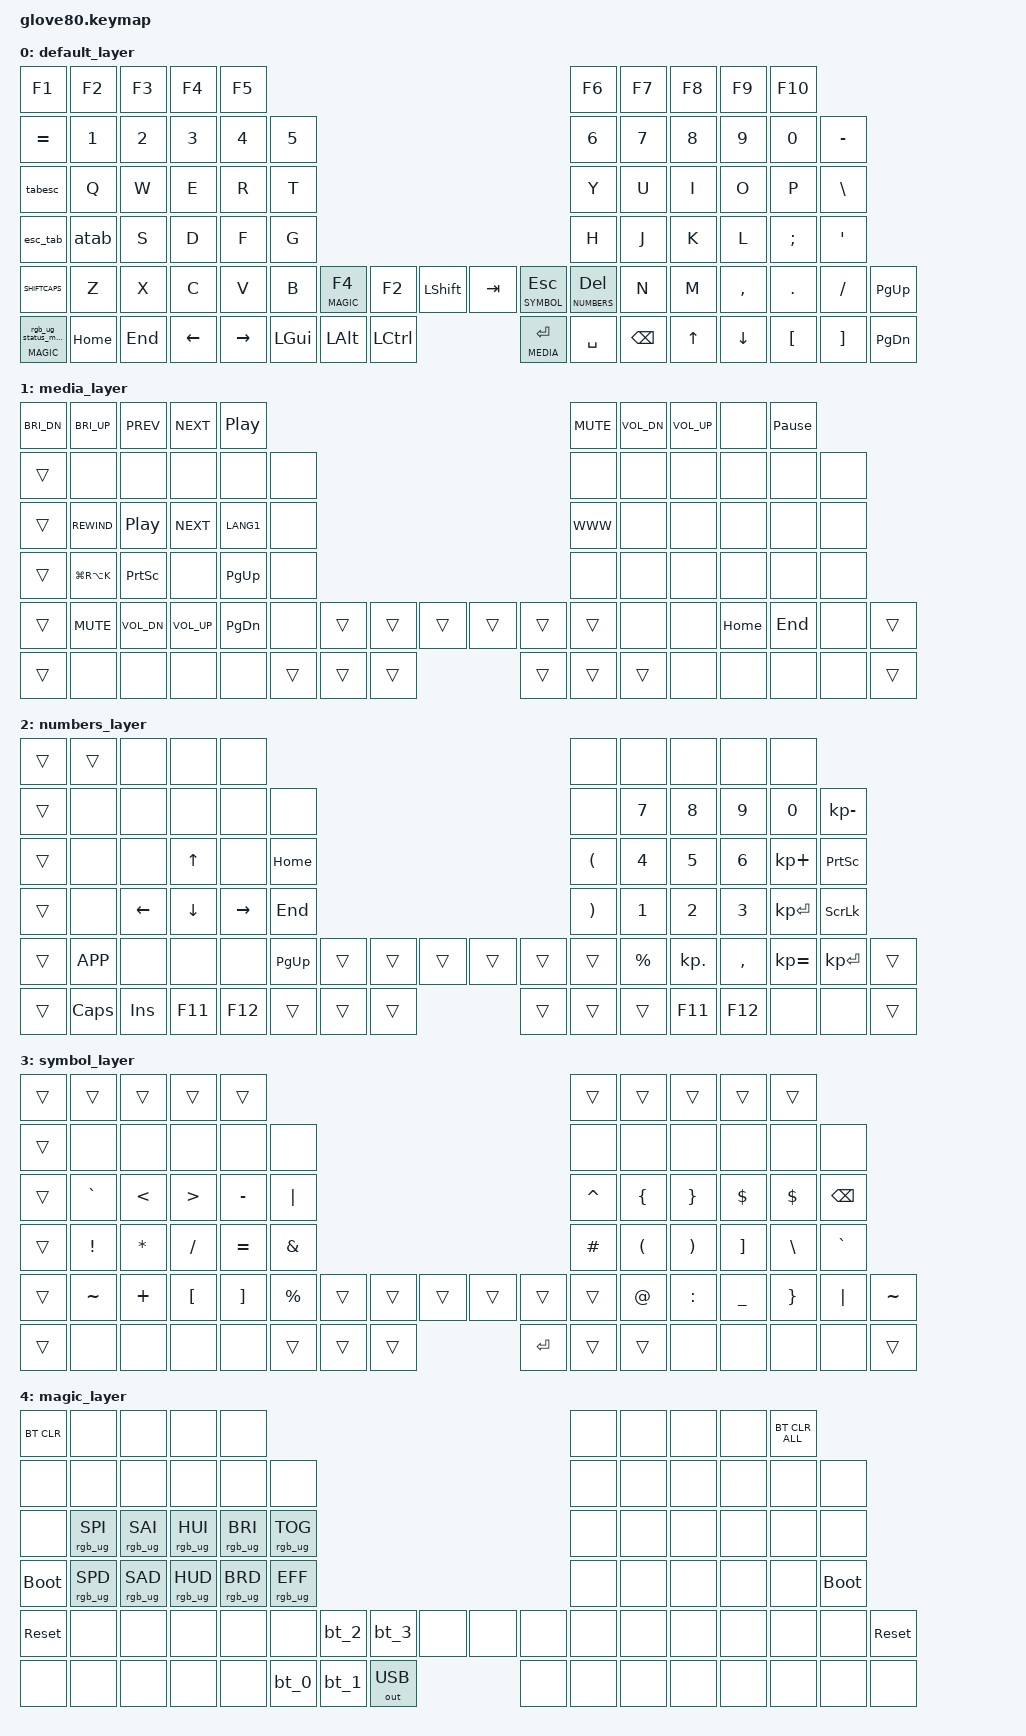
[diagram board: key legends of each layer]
/*
 * Eli's Glove80 Keymap
 * Ported from Corne (eyelash_corne) layout
 */

#include <behaviors.dtsi>
#include <dt-bindings/zmk/keys.h>
#include <dt-bindings/zmk/bt.h>
#include <dt-bindings/zmk/ext_power.h>
#include <dt-bindings/zmk/outputs.h>
#include <dt-bindings/zmk/rgb.h>

// Layer definitions
#define DEFAULT 0
#define MEDIA   1
#define NUMBERS 2
#define SYMBOL  3
#define MAGIC   4

/ {
    behaviors {
        // Alt-Tab system: ESC normally, Shift+Tab when Alt is held (reverse alt-tab)
        esc_tab: esc_tab {
            compatible = "zmk,behavior-mod-morph";
            label = "ESC_TAB";
            #binding-cells = <0>;
            bindings = <&kp ESCAPE>, <&kp RS(TAB)>;
            mods = <(MOD_LALT|MOD_RALT)>;
            keep-mods = <(MOD_LALT|MOD_RALT)>;
        };

        // Alt-Tab system: TAB normally, ESC when Alt is held
        tabesc: tabesc {
            compatible = "zmk,behavior-mod-morph";
            label = "TABESC";
            #binding-cells = <0>;
            bindings = <&kp TAB>, <&kp ESCAPE>;
            mods = <(MOD_LALT|MOD_RALT)>;
            keep-mods = <(MOD_LALT|MOD_RALT)>;
        };

        // Alt-Tab system: A normally, TAB when Alt is held (Alt+A = Alt+Tab)
        atab: atab {
            compatible = "zmk,behavior-mod-morph";
            label = "ATAB";
            #binding-cells = <0>;
            bindings = <&kp A>, <&kp TAB>;
            mods = <(MOD_LALT|MOD_RALT)>;
            keep-mods = <(MOD_LALT|MOD_RALT)>;
        };

        // Tap-dance: Shift on tap, CapsLock on double-tap
        SHIFTCAPS: SHIFTCAPS {
            compatible = "zmk,behavior-tap-dance";
            label = "SHIFTCAPS";
            #binding-cells = <0>;
            tapping-term-ms = <200>;
            bindings = <&kp LSHIFT>, <&kp CAPS>;
        };

        // F4 on tap, MAGIC layer on hold (for Excel + Glove80 settings)
        magic_f4: magic_f4 {
            compatible = "zmk,behavior-hold-tap";
            label = "MAGIC_F4";
            #binding-cells = <2>;
            flavor = "tap-preferred";
            tapping-term-ms = <200>;
            bindings = <&mo>, <&kp>;
        };

        // Hold-tap for ENTER with Media layer (Layer 1)
        lt_enter_media: lt_enter_media {
            compatible = "zmk,behavior-hold-tap";
            label = "LT_ENTER_MEDIA";
            #binding-cells = <2>;
            flavor = "tap-preferred";
            tapping-term-ms = <150>;
            quick-tap-ms = <90>;
            require-prior-idle-ms = <100>;
            retro-tap;
            bindings = <&mo>, <&kp>;
        };

        // Hold-tap for DEL with Numbers layer (Layer 2)
        lt_del_numbers: lt_del_numbers {
            compatible = "zmk,behavior-hold-tap";
            label = "LT_DEL_NUMBERS";
            #binding-cells = <2>;
            flavor = "tap-preferred";
            tapping-term-ms = <150>;
            quick-tap-ms = <90>;
            require-prior-idle-ms = <100>;
            retro-tap;
            bindings = <&mo>, <&kp>;
        };

        // Hold-tap for ESC with Symbol layer (Layer 3)
        lt_esc_symbol: lt_esc_symbol {
            compatible = "zmk,behavior-hold-tap";
            label = "LT_ESC_SYMBOL";
            #binding-cells = <2>;
            flavor = "tap-preferred";
            tapping-term-ms = <150>;
            quick-tap-ms = <90>;
            require-prior-idle-ms = <100>;
            retro-tap;
            bindings = <&mo>, <&kp>;
        };

        // Magic key behavior for RGB status
        magic: magic_hold_tap {
            compatible = "zmk,behavior-hold-tap";
            label = "MAGIC_HOLD_TAP";
            #binding-cells = <2>;
            flavor = "tap-preferred";
            tapping-term-ms = <200>;
            bindings = <&mo>, <&rgb_ug_status_macro>;
        };
    };

    macros {
        // RGB status macro for Glove80
        rgb_ug_status_macro: rgb_ug_status_macro_0 {
            label = "RGB_UG_STATUS";
            compatible = "zmk,behavior-macro";
            #binding-cells = <0>;
            bindings = <&rgb_ug RGB_STATUS>;
        };

        // Bluetooth profile macros
        bt_0: bt_profile_macro_0 {
            label = "BT_0";
            compatible = "zmk,behavior-macro";
            #binding-cells = <0>;
            bindings = <&out OUT_BLE>, <&bt BT_SEL 0>;
        };

        bt_1: bt_profile_macro_1 {
            label = "BT_1";
            compatible = "zmk,behavior-macro";
            #binding-cells = <0>;
            bindings = <&out OUT_BLE>, <&bt BT_SEL 1>;
        };

        bt_2: bt_profile_macro_2 {
            label = "BT_2";
            compatible = "zmk,behavior-macro";
            #binding-cells = <0>;
            bindings = <&out OUT_BLE>, <&bt BT_SEL 2>;
        };

        bt_3: bt_profile_macro_3 {
            label = "BT_3";
            compatible = "zmk,behavior-macro";
            #binding-cells = <0>;
            bindings = <&out OUT_BLE>, <&bt BT_SEL 3>;
        };
    };

    keymap {
        compatible = "zmk,keymap";

        default_layer {
            // ---------------------------------------------------------------------------------------------------------------------------------
            // |  F1   |  F2 |  F3 |  F4  |  F5  |                                                               |  F6   |  F7   |  F8  |   F9  |  F10 |
            // |  =    |  1  |  2  |  3   |  4   |  5   |                                                 |  6   |   7   |   8   |  9   |   0   |   -  |
            // | TAB/E |  Q  |  W  |  E   |  R   |  T   |                                                 |  Y   |   U   |   I   |  O   |   P   |   \  |
            // |ESC/TAB|  A* |  S  |  D   |  F   |  G   |                                                 |  H   |   J   |   K   |  L   |   ;   |   '  |
            // |SHFTCAP|  Z  |  X  |  C   |  V   |  B   | F4/MAG|  F2   | SHIFT | | TAB   |ESC/L3 |DEL/L2 |  N   |   M   |   ,   |  .   |   /   | PGUP |
            // | MAGIC | HOME| END | LEFT | RIGHT|      | GUI   | ALT   | CTRL  | |ENT/L1 | SPACE | BSPC  |      |  UP   | DOWN  |  [   |   ]   | PGDN |
            //
            // A* = atab (A normally, TAB when Alt held)
            // TAB/E = tabesc (TAB normally, ESC when Alt held)
            // ESC/TAB = esc_tab (ESC normally, Shift+Tab when Alt held)
            // ENT/L1 = Enter, hold for Media layer
            // DEL/L2 = Delete, hold for Numbers layer
            // ESC/L3 = Escape, hold for Symbol layer

            bindings = <
            &kp F1          &kp F2    &kp F3   &kp F4    &kp F5                                                                                                       &kp F6                    &kp F7     &kp F8    &kp F9    &kp F10
            &kp EQUAL       &kp N1    &kp N2   &kp N3    &kp N4     &kp N5                                                                                    &kp N6  &kp N7                    &kp N8     &kp N9    &kp N0    &kp MINUS
            &tabesc         &kp Q     &kp W    &kp E     &kp R      &kp T                                                                                     &kp Y   &kp U                     &kp I      &kp O     &kp P     &kp BSLH
            &esc_tab        &atab     &kp S    &kp D     &kp F      &kp G                                                                                     &kp H   &kp J                     &kp K      &kp L     &kp SEMI  &kp SQT
            &SHIFTCAPS      &kp Z     &kp X    &kp C     &kp V      &kp B      &magic_f4 MAGIC F4  &kp F2     &kp LSHFT   &kp TAB   &lt_esc_symbol SYMBOL ESC  &lt_del_numbers NUMBERS DEL  &kp N   &kp M                     &kp COMMA  &kp DOT   &kp FSLH  &kp PG_UP
            &magic MAGIC 0  &kp HOME  &kp END  &kp LEFT  &kp RIGHT             &kp LGUI            &kp LALT   &kp LCTRL   &lt_enter_media MEDIA ENTER  &kp SPACE  &kp BSPC    &kp UP  &kp DOWN  &kp LBKT   &kp RBKT  &kp PG_DN
            >;
        };

        media_layer {
            // Ported from Corne media layer
            // ---------------------------------------------------------------------------------------------------------------------------------
            // | BRIDN | BRIUP| PREV | NEXT | PLAY |                                                               | MUTE  | VOLDN | VOLUP |       |PAUSE |
            // |       |      |      |      |      |      |                                                 |      |       |       |       |       |      |
            // |       | REW  | PLAY | NEXT |LANG1 |      |                                                 | WWW  |       |       |       |       |      |
            // |       |LG+AK | PRTSC|      | PGUP |      |                                                 |      |       |       |       |       |      |
            // |       | MUTE | VOLDN| VOLUP| PGDN |      |       |       |       | |       |       |       |      |       | HOME  | END   |       |      |
            // |       |      |      |      |      |      |       |       |       | |       |       |       |      |       |       |       |       |      |

            bindings = <
            &kp C_BRI_DN  &kp C_BRI_UP   &kp C_PREV        &kp C_NEXT    &kp C_PP                                                                                   &kp C_MUTE  &kp C_VOL_DN  &kp C_VOL_UP  &none   &kp PAUSE_BREAK
            &trans        &none          &none             &none         &none       &none                                                                  &none   &none       &none         &none         &none   &none
            &trans        &kp C_REWIND   &kp C_PLAY_PAUSE  &kp C_NEXT    &kp LANG1   &none                                                                  &kp K_WWW  &none    &none         &none         &none   &none
            &trans        &kp LG(RA(K))  &kp PRINTSCREEN   &none         &kp PG_UP   &none                                                                  &none   &none       &none         &none         &none   &none
            &trans        &kp C_MUTE     &kp C_VOL_DN      &kp C_VOL_UP  &kp PG_DN   &none   &trans  &trans  &trans   &trans  &trans  &trans                &none   &none       &kp HOME      &kp END       &none   &trans
            &trans        &none          &none             &none         &none               &trans  &trans  &trans   &trans  &trans  &trans                        &none       &none         &none         &none   &trans
            >;
        };

        numbers_layer {
            // Numpad on right (789 on num row, 456 on UIO, 123 on JKL)
            // Navigation on left (merged from Glove80 lower layer)
            // F11/F12 on up/down arrows
            // ---------------------------------------------------------------------------------------------------------------------------------
            // |       |      |      |      |      |                                                               |       |       |       |       |      |
            // |       |      |      |      |      |      |                                                 |      |   7   |   8   |   9   |   0   | KP_- |
            // |       |      |      |  UP  |      | HOME |                                                 |  (   |   4   |   5   |   6   | KP_+  | PRTSC|
            // |       |      | LEFT | DOWN | RIGHT| END  |                                                 |  )   |   1   |   2   |   3   |KP_ENT | SLCK |
            // |       |K_APP |      |      |      | PGUP |       |       |       | |       |       |       |  %   | KP_DOT|   ,   |KP_EQ  |KP_ENT |      |
            // |       | CAPS | INS  | F11  | F12  |      |       |       |       | |       |       |       |      |  F11  |  F12  |       |       |      |

            bindings = <
            &trans   &trans     &none    &none     &none                                                                                                       &none      &none       &none      &none        &none
            &trans   &none      &none    &none     &none      &none                                                                                    &none   &kp N7     &kp N8      &kp N9     &kp N0       &kp KP_MINUS
            &trans   &none      &none    &kp UP    &none      &kp HOME                                                                                 &kp LPAR &kp N4    &kp N5      &kp N6     &kp KP_PLUS  &kp PSCRN
            &trans   &none      &kp LEFT &kp DOWN  &kp RIGHT  &kp END                                                                                  &kp RPAR &kp N1    &kp N2      &kp N3     &kp KP_ENTER &kp SLCK
            &trans   &kp K_APP  &none    &none     &none      &kp PG_UP  &trans  &trans  &trans    &trans  &trans  &trans                               &kp PRCNT &kp KP_DOT &kp COMMA &kp KP_EQUAL &kp KP_ENTER &trans
            &trans   &kp CAPS   &kp INS  &kp F11   &kp F12               &trans  &trans  &trans    &trans  &trans  &trans                                        &kp F11   &kp F12    &none      &none        &trans
            >;
        };

        symbol_layer {
            // Ported exactly from Corne symbol layer
            // ---------------------------------------------------------------------------------------------------------------------------------
            // |       |      |      |      |      |                                                               |       |       |       |       |      |
            // |       |      |      |      |      |      |                                                 |      |       |       |       |       |      |
            // |       |  `   |  <   |  >   |  -   |  |   |                                                 |  ^   |   {   |   }   |   $   |   $   | BSPC |
            // |       |  !   |  *   |  /   |  =   |  &   |                                                 |  #   |   (   |   )   |   ]   |   \   |  `   |
            // |       |  ~   |  +   |  [   |  ]   |  %   |       |       |       | |       |       |       |  @   |   :   |   _   |   }   |   |   |  ~   |
            // |       |      |      |      |      |      |       |       |       | | RET   |       |       |      |       |       |       |       |      |

            bindings = <
            &trans   &trans     &trans    &trans     &trans                                                                                                      &trans     &trans    &trans     &trans    &trans
            &trans   &none      &none     &none      &none      &none                                                                                    &none   &none      &none     &none      &none     &none
            &trans   &kp GRAVE  &kp LT    &kp GT     &kp MINUS  &kp PIPE                                                                                 &kp CARET &kp LBRC &kp RBRC  &kp DLLR   &kp DLLR  &kp BSPC
            &trans   &kp EXCL   &kp STAR  &kp SLASH  &kp EQUAL  &kp AMPS                                                                                 &kp POUND &kp LPAR &kp RPAR  &kp RBKT   &kp BSLH  &kp GRAVE
            &trans   &kp TILDE  &kp PLUS  &kp LBKT   &kp RBKT   &kp PRCNT  &trans  &trans  &trans    &trans  &trans  &trans                               &kp AT   &kp COLON &kp UNDER &kp RBRC   &kp PIPE  &kp TILDE
            &trans   &none      &none     &none      &none                 &trans  &trans  &trans    &kp RET &trans  &trans                                        &none     &none     &none      &none     &trans
            >;
        };

        magic_layer {
            // Glove80 system layer - BT, RGB, bootloader
            bindings = <
            &bt BT_CLR   &none            &none            &none            &none                                                                                                  &none  &none  &none  &none  &bt BT_CLR_ALL
            &none        &none            &none            &none            &none            &none                                                                          &none  &none  &none  &none  &none  &none
            &none        &rgb_ug RGB_SPI  &rgb_ug RGB_SAI  &rgb_ug RGB_HUI  &rgb_ug RGB_BRI  &rgb_ug RGB_TOG                                                                &none  &none  &none  &none  &none  &none
            &bootloader  &rgb_ug RGB_SPD  &rgb_ug RGB_SAD  &rgb_ug RGB_HUD  &rgb_ug RGB_BRD  &rgb_ug RGB_EFF                                                                &none  &none  &none  &none  &none  &bootloader
            &sys_reset   &none            &none            &none            &none            &none            &bt_2   &bt_3   &none          &none  &none  &none            &none  &none  &none  &none  &none  &sys_reset
            &none        &none            &none            &none            &none                             &bt_0   &bt_1   &out OUT_USB   &none  &none  &none                   &none  &none  &none  &none  &none
            >;
        };
    };
};
